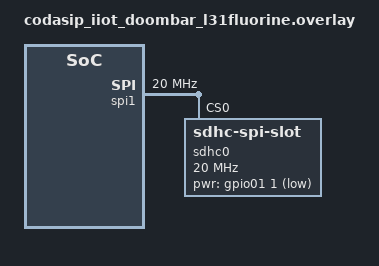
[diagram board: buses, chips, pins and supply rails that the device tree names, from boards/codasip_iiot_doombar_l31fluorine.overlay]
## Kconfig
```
#
# Copyright (c) 2023 Nordic Semiconductor ASA
#
# SPDX-License-Identifier: Apache-2.0
#

mainmenu "FAT Filesystem Sample Application"

config SAMPLE_FATFS_CREATE_SOME_ENTRIES
	bool "When no files are found on mounted partition create some"
	default n
	help
	  In case when no files could be listed, because there are none,
	  "some.dir" directory and "other.txt" file will be created
	  and list will run again to show them. This is useful when
	  showing how FAT works on non-SD devices like internal flash
	  or (Q)SPI connected memories, where it is not possible to
	  easily add files with use of other device.

source "Kconfig.zephyr"
```

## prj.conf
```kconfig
CONFIG_GPIO=y
CONFIG_SPI=y
CONFIG_DISK_ACCESS=y
CONFIG_LOG=y
CONFIG_FILE_SYSTEM=y
CONFIG_FAT_FILESYSTEM_ELM=y
CONFIG_FS_FATFS_READ_ONLY=n
CONFIG_FS_FATFS_LFN=y
CONFIG_PRINTK=y
CONFIG_MAIN_STACK_SIZE=2048
CONFIG_MBEDTLS=y
CONFIG_MBEDTLS_BUILTIN=y
CONFIG_MBEDTLS_HMAC_DRBG_ENABLED=y
CONFIG_MBEDTLS_TEST=y
CONFIG_MINIMAL_LIBC_NON_REENTRANT_FUNCTIONS=y
CONFIG_MINIMAL_LIBC_RAND=y
```

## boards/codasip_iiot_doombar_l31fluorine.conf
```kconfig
CONFIG_SPI=y
CONFIG_SPI_EXTENDED_MODES=y
CONFIG_DISK_DRIVER_SDMMC=y
CONFIG_FS_FATFS_MOUNT_MKFS=n
CONFIG_FS_FATFS_LFN=y
CONFIG_LOG_PRINTK=n
# CONFIG_SD_CMD_TIMEOUT=1000
```

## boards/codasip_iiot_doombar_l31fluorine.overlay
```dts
/*
 * Copyright (c) 2023 Codasip s.r.o.
 *
 * SPDX-License-Identifier: Apache-2.0
 */

&spi1 { /* SD Card */
        status = "okay";

        compatible = "codasip-xlnx,xps-spi-2.00.a";
        clock-frequency = <20000000>;

        sdhc0: sdhc@0 {
                compatible = "zephyr,sdhc-spi-slot";
                reg = <0>;
                spi-max-frequency = <20000000>;
                status = "okay";
/*                spi-clock-mode-cpol;
                spi-clock-mode-cpha; */
/*              cd-gpios  = <&gpio01 0 GPIO_ACTIVE_LOW>; only for imx_usdhc.c */
                pwr-gpios = <&gpio01 1 GPIO_ACTIVE_LOW>;
                mmc {
                    compatible = "zephyr,sdmmc-disk";
                    status = "okay";
                };
        };
};
```

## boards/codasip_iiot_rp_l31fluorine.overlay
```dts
/*
 * Copyright (c) 2023 Codasip s.r.o.
 *
 * SPDX-License-Identifier: Apache-2.0
 */

&spi1 { /* SD Card */
        status = "okay";
        sdhc0: sdhc@0 {
                compatible = "zephyr,sdhc-spi-slot";
                reg = <0>;
                spi-max-frequency = <10000000>;
                status = "okay";
                /* spi-clock-mode-cpol; */
                /* spi-clock-mode-cpha; */
                mmc {
                    compatible = "zephyr,sdmmc-disk";
                    status = "okay";
                };
        };
};
```

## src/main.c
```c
/* From: samples/subsys/fs/fat_fs/src/main.c
 *
 * Copyright (c) 2019 Tavish Naruka <tavishnaruka@gmail.com>
 * Copyright (c) 2023 Nordic Semiconductor ASA
 * Copyright (c) 2023 Codasip s.r.o.
 *
 * SPDX-License-Identifier: Apache-2.0
 */

/* Sample which uses the filesystem API and SDHC driver */

#include <zephyr/kernel.h>
#include <zephyr/device.h>
#include <zephyr/storage/disk_access.h>
#include <zephyr/logging/log.h>
#include <zephyr/fs/fs.h>
#include <ff.h>
#include <zephyr/drivers/gpio.h>

#include <zephyr/drivers/entropy.h>

#if defined(CONFIG_MBEDTLS_HMAC_DRBG_ENABLED)
#include "mbedtls/hmac_drbg.h"

#else
#error Need to set "CONFIG_MBEDTLS_HMAC_DRBG_ENABLED=y" in the prj.conf file
#endif

#if defined(MBEDTLS_MEMORY_BUFFER_ALLOC_C)
#include "mbedtls/memory_buffer_alloc.h"

unsigned char buf[16000];
#endif

LOG_MODULE_REGISTER(main);

#define DISK_DRIVE_NAME "SD"
#define DISK_MOUNT_PT   "/" DISK_DRIVE_NAME ":"
#define MAX_PATH        128

static FATFS fat_fs;

/* mounting info */
static struct fs_mount_t mp = {
        .type = FS_FATFS,
        .fs_data = &fat_fs,
};

#define BUFFER_MAX 1024
static unsigned char buffer[BUFFER_MAX];

/* #define LINE_MAX 1024 Now defined in picolibc - used by Zephyr */
static char line[LINE_MAX];

static void cat(const char *path_filename)
{
        int err;

        struct fs_file_t zfp;

        fs_file_t_init(&zfp);
        err = fs_open(&zfp, path_filename, FS_O_READ);

        if (err == 0) {
                int idx = 0;

                /* Read in lines */
                while (fs_read(&zfp, &line[idx], 1) == 1) {
                        if (line[idx] == 0x0a || idx >= (LINE_MAX - 2)) {
                                line[idx + 1] = '\0';
                                idx = 0;

                                printk("%s", line);
                        } else {
                                idx++;
                        }
                }

                fs_close(&zfp);
        } else {
                printk("Can't open \"%s\" error %d\n", path_filename, err);
        }
}

typedef int (*get_random_fn_t)(void *, unsigned char *, size_t);

static void write_trng(const char *path_filename, get_random_fn_t get_random_fn,
                       void *random_context, size_t len)
{
        int err;

        struct fs_file_t zfp;

        printk("Writing %d random bytes to file \"%s\"\n", len, path_filename);

        fs_file_t_init(&zfp);
        err = fs_open(&zfp, path_filename, FS_O_CREATE | FS_O_RDWR);

        if (err == 0) {
                size_t buf_len, written = 0, written_last_update = 0;

                for (; len > 0; len -= buf_len) {
                        buf_len = (BUFFER_MAX < len) ? BUFFER_MAX : len;

                        /* Get random data */
                        get_random_fn(random_context, buffer, buf_len);

                        if (fs_write(&zfp, &buffer, buf_len) != buf_len) {
                                printk("Error writing %s\n", path_filename);
                                break;
                        }

                        written += buf_len;
                        if (written >= written_last_update + 0x10000) {
                                printk("Written 0x%x to file %s\n", written, path_filename);
                                written_last_update = written;
                        }
                }

                fs_close(&zfp);

                printk("File \"%s\" written OK\n", path_filename);
        } else {
                printk("Can't open \"%s\" error %d\n", path_filename, err);
        }
}

/*
 *  Note the fatfs library is able to mount only strings inside _VOLUME_STRS
 *  in ffconf.h
 */
static const char *disk_mount_pt = DISK_MOUNT_PT;

#define ENTROPY_LENGTH       (1024UL * 1024 * 1024) /* 1GB */
#define RANDOM_TRNG_FILENAME DISK_MOUNT_PT "/trng.dat"
#define RANDOM_DRBG_FILENAME DISK_MOUNT_PT "/drbg.dat"

int main(void)
{
        /* raw disk i/o */
        do {
                static const char *disk_pdrv = DISK_DRIVE_NAME;
                uint64_t memory_size_mb;
                uint32_t block_count;
                uint32_t block_size;

                if (disk_access_init(disk_pdrv) != 0) {
                        LOG_ERR("Storage init ERROR!");
                        break;
                }

                if (disk_access_ioctl(disk_pdrv, DISK_IOCTL_GET_SECTOR_COUNT, &block_count)) {
                        LOG_ERR("Unable to get sector count");
                        break;
                }
                LOG_INF("Block count %u", block_count);

                if (disk_access_ioctl(disk_pdrv, DISK_IOCTL_GET_SECTOR_SIZE, &block_size)) {
                        LOG_ERR("Unable to get sector size");
                        break;
                }
                printk("Sector size %u\n", block_size);

                memory_size_mb = (uint64_t)block_count * block_size;
                printk("Memory Size(MB) %u\n", (uint32_t)(memory_size_mb >> 20));
        } while (0);

        mp.mnt_point = disk_mount_pt;

        int res = fs_mount(&mp);

        if (res == FR_OK) {
                printk("Disk mounted.\n");

                cat(DISK_MOUNT_PT "/zephyr-logo.txt");

                /* Get Codasip TRNG Entropy data and write to SD Card */
                {
                        const struct device *const dev = DEVICE_DT_GET(DT_CHOSEN(zephyr_entropy));

                        printk("Get Codasip TRNG Entropy data and write to SD Card "
                               "as " RANDOM_TRNG_FILENAME "\n");

                        (void)memset(buffer, 0, BUFFER_MAX);

                        /* Use entropy_get_entropy() as the random number source */
                        write_trng(RANDOM_TRNG_FILENAME,
                                   (int (*)(void *, unsigned char *, size_t))entropy_get_entropy,
                                   (void *)dev, ENTROPY_LENGTH);
                }

                /* Get Codasip HMAC DRBG data (using Codasip TRNG Entropy data as a seed) and write
                 * to SD Card */
                {
                        const struct device *const dev = DEVICE_DT_GET(DT_CHOSEN(zephyr_entropy));
                        mbedtls_hmac_drbg_context ctx;
                        const mbedtls_md_info_t *md_info =
                                mbedtls_md_info_from_type(MBEDTLS_MD_SHA1);

                        printk("Get Codasip HMAC DRBG data (using Codasip TRNG Entropy data as a "
                               "seed) and write to SD Card as " RANDOM_DRBG_FILENAME "\n");

                        (void)memset(buffer, 0, BUFFER_MAX);

#if defined(MBEDTLS_MEMORY_BUFFER_ALLOC_C)
                        mbedtls_memory_buffer_alloc_init(buf, sizeof(buf));
#endif

                        mbedtls_hmac_drbg_init(&ctx);

#if 0
            /* Original non-Entropy software RNG as used in mbedtls_hmac_drbg_self_test() in hmac_drbg.c */
            mbedtls_hmac_drbg_seed( &ctx, md_info,
                                    hmac_drbg_self_test_entropy, (void *) entropy_pr,
                                    NULL, 0 );
#else

                        /* Using Codasip Entropy TRNG as the seed */
                        mbedtls_hmac_drbg_seed(
                                &ctx, md_info,
                                (int (*)(void *, unsigned char *, size_t))entropy_get_entropy,
                                (void *)dev, NULL, 0);
#endif

                        mbedtls_hmac_drbg_set_prediction_resistance(&ctx, MBEDTLS_HMAC_DRBG_PR_ON);

                        /* Use mbedtls_hmac_drbg_random() as the random number source */
                        write_trng(
                                RANDOM_DRBG_FILENAME,
                                (int (*)(void *, unsigned char *, size_t))mbedtls_hmac_drbg_random,
                                (void *)&ctx, ENTROPY_LENGTH);
                }

        } else {
                printk("Error mounting disk.\n");
        }

        while (1) {
                k_sleep(K_MSEC(1000));
        }
        return 0;
}
```
